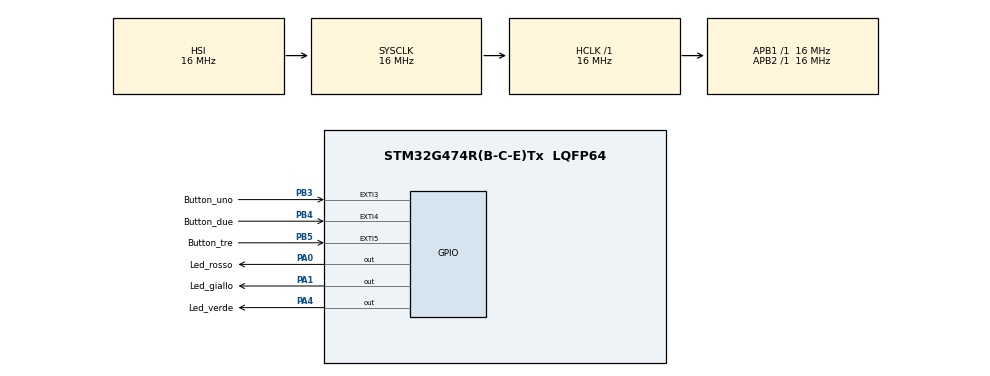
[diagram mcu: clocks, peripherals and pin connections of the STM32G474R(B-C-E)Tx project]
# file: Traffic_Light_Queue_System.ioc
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Mcu.Family=STM32G4
Mcu.Name=STM32G474R(B-C-E)Tx
Mcu.Package=LQFP64
NVIC.EXTI3_IRQn=true\:0\:0\:false\:false\:true\:true\:true\:true
NVIC.EXTI4_IRQn=true\:0\:0\:false\:false\:true\:true\:true\:true
NVIC.EXTI9_5_IRQn=true\:0\:0\:false\:false\:true\:true\:true\:true
NVIC.PriorityGroup=NVIC_PRIORITYGROUP_4
PA0.GPIO_Label=Led_rosso
PA0.Signal=GPIO_Output
PA1.GPIO_Label=Led_giallo
PA1.Signal=GPIO_Output
PA4.GPIO_Label=Led_verde
PA4.Signal=GPIO_Output
PB3.GPIO_Label=Button_uno
PB3.GPIO_PuPd=GPIO_PULLDOWN
PB3.Signal=GPXTI3
PB4.GPIO_Label=Button_due
PB4.GPIO_PuPd=GPIO_PULLDOWN
PB4.Signal=GPXTI4
PB5.GPIO_Label=Button_tre
PB5.GPIO_PuPd=GPIO_PULLDOWN
PB5.Signal=GPXTI5
ProjectManager.HeapSize=0x200
ProjectManager.StackSize=0x400
ProjectManager.TargetToolchain=STM32CubeIDE
RCC.AHBFreq_Value=16000000
RCC.APB1Freq_Value=16000000
RCC.APB1TimFreq_Value=16000000
RCC.APB2Freq_Value=16000000
RCC.APB2TimFreq_Value=16000000
RCC.CortexFreq_Value=16000000
RCC.EXTERNAL_CLOCK_VALUE=12288000
RCC.HCLKFreq_Value=16000000
RCC.HSE_VALUE=8000000
RCC.HSI48_VALUE=48000000
RCC.HSI_VALUE=16000000
RCC.LSE_VALUE=32768
RCC.SYSCLKFreq_VALUE=16000000
RCC.USBFreq_Value=64000000
RCC.VCOOutputFreq_Value=128000000
VP_SYS_VS_DBSignals.Mode=DisableDeadBatterySignals
board=custom

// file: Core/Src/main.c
/* USER CODE BEGIN Header */
/**
  ******************************************************************************
  * @file           : main.c
  * @brief          : Main program body
  ******************************************************************************
  * @attention
  *
  * Copyright (c) 2026 STMicroelectronics.
  * All rights reserved.
  *
  * This software is licensed under terms that can be found in the LICENSE file
  * in the root directory of this software component.
  * If no LICENSE file comes with this software, it is provided AS-IS.
  *
  ******************************************************************************
  */
/* USER CODE END Header */
#include "main.h"
#include "gpio.h"

/* USER CODE BEGIN PD */
#define QUEUE_CAPACITY 10
#define ITEM_SIZE sizeof(Colors)

#define TIMEOUT_ROSSO 5000
#define TIMEOUT_GIALLO 2000
#define TIMEOUT_VERDE 1000
/* USER CODE END PD */

/* USER CODE BEGIN PV */
queue_t miaCoda;
uint8_t buffer_memoria[QUEUE_CAPACITY * ITEM_SIZE];

Colors currentState = ROSSO;
uint32_t lastTick = 0;
uint32_t currentTimeout = TIMEOUT_ROSSO;
/* USER CODE END PV */

void SystemClock_Config(void);
/* USER CODE BEGIN PFP */
void Set_Traffic_Light(Colors color);
/* USER CODE END PFP */

int main(void)
{

  /* MCU Configuration--------------------------------------------------------*/

  /* Reset of all peripherals, Initializes the Flash interface and the Systick. */
  HAL_Init();

  /* Configure the system clock */
  SystemClock_Config();

  /* Initialize all configured peripherals */
  MX_GPIO_Init();
  /* USER CODE BEGIN 2 */
  queue_init(&miaCoda, buffer_memoria, ITEM_SIZE, QUEUE_CAPACITY);
  lastTick = HAL_GetTick();
  /* USER CODE END 2 */

  /* Infinite loop */
  /* USER CODE BEGIN WHILE */
  while (1)
  {
	  // 1. Set LEDs
	  Set_Traffic_Light(currentState);

	  // 2. Check Queue for override
	  Colors nextRequested;
	  if(queue_extract(&miaCoda, &nextRequested) == QUEUE_OK){
		  currentState = nextRequested;
		  lastTick = HAL_GetTick();

		  // Update timeout for the new state
		  switch(currentState){
		  	  case ROSSO: currentTimeout = TIMEOUT_ROSSO; break;
		  	  case GIALLO: currentTimeout = TIMEOUT_GIALLO; break;
		  	  case VERDE: currentTimeout = TIMEOUT_VERDE; break;
		  }
	  }

	  // 3. Check Timeout for automatic transition
	  if(HAL_GetTick() - lastTick >= currentTimeout){
		  switch(currentState){
		  	  case ROSSO:
		  		  currentState = GIALLO;
		  		  currentTimeout = TIMEOUT_GIALLO;
		  		  break;
		  	  case GIALLO:
		  		  currentState = VERDE;
		  		  currentTimeout = TIMEOUT_VERDE;
		  		  break;
		  	  case VERDE:
		  		  currentState = ROSSO;
		  		  currentTimeout = TIMEOUT_ROSSO;
		  		  break;
		  }
		  lastTick = HAL_GetTick();
	  }
    /* USER CODE END WHILE */

  }
}

void SystemClock_Config(void)
{
  RCC_OscInitTypeDef RCC_OscInitStruct = {0};
  RCC_ClkInitTypeDef RCC_ClkInitStruct = {0};

  /** Configure the main internal regulator output voltage
  */
  HAL_PWREx_ControlVoltageScaling(PWR_REGULATOR_VOLTAGE_SCALE1);

  /** Initializes the RCC Oscillators according to the specified parameters
  * in the RCC_OscInitTypeDef structure.
  */
  RCC_OscInitStruct.OscillatorType = RCC_OSCILLATORTYPE_HSI;
  RCC_OscInitStruct.HSIState = RCC_HSI_ON;
  RCC_OscInitStruct.HSICalibrationValue = RCC_HSICALIBRATION_DEFAULT;
  RCC_OscInitStruct.PLL.PLLState = RCC_PLL_NONE;
  if (HAL_RCC_OscConfig(&RCC_OscInitStruct) != HAL_OK)
  {
    Error_Handler();
  }

  /** Initializes the CPU, AHB and APB buses clocks
  */
  RCC_ClkInitStruct.ClockType = RCC_CLOCKTYPE_HCLK|RCC_CLOCKTYPE_SYSCLK
                              |RCC_CLOCKTYPE_PCLK1|RCC_CLOCKTYPE_PCLK2;
  RCC_ClkInitStruct.SYSCLKSource = RCC_SYSCLKSOURCE_HSI;
  RCC_ClkInitStruct.AHBCLKDivider = RCC_SYSCLK_DIV1;
  RCC_ClkInitStruct.APB1CLKDivider = RCC_HCLK_DIV1;
  RCC_ClkInitStruct.APB2CLKDivider = RCC_HCLK_DIV1;

  if (HAL_RCC_ClockConfig(&RCC_ClkInitStruct, FLASH_LATENCY_0) != HAL_OK)
  {
    Error_Handler();
  }
}

/* USER CODE BEGIN 4 */
void Set_Traffic_Light(Colors color){
	// Reset all LEDs
	HAL_GPIO_WritePin(GPIOA, Led_rosso_Pin | Led_giallo_Pin | Led_verde_Pin, GPIO_PIN_RESET);

	// Set requested LED
	switch(color){
		case ROSSO:
			HAL_GPIO_WritePin(Led_rosso_GPIO_Port, Led_rosso_Pin, GPIO_PIN_SET);
			break;
		case GIALLO:
			HAL_GPIO_WritePin(Led_giallo_GPIO_Port, Led_giallo_Pin, GPIO_PIN_SET);
			break;
		case VERDE:
			HAL_GPIO_WritePin(Led_verde_GPIO_Port, Led_verde_Pin, GPIO_PIN_SET);
			break;
	}
}
/* USER CODE END 4 */

void Error_Handler(void)
{
  __disable_irq();
  while (1)
  {
  }
}
